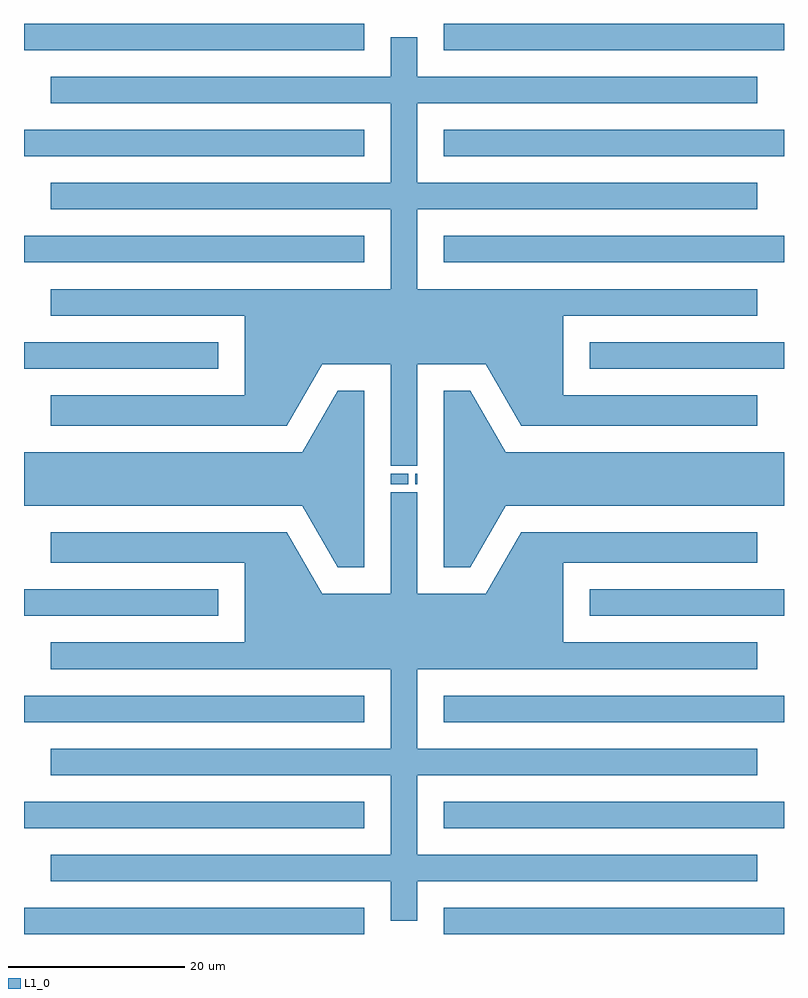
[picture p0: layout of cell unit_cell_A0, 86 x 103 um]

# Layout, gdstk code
from math import pi, radians
import gdstk
lib = gdstk.Library(unit=1e-6, precision=1e-09)
def R(c, l, rs):  # rectangles x0, y0, x1, y1
    for r in rs: c.add(gdstk.rectangle(r[:2], r[2:], *l))
def P(c, l, *ps):  # polygons
    for p in ps: c.add(gdstk.Polygon(p, *l))
L1_0 = (1, 0)

unnamed_410 = lib.new_cell('Unnamed_410')
P(unnamed_410, L1_0, [(38.5,0),(38.5,4.5),(0,4.5),(0,7.5),(38.5,7.5),(38.5,16.5),(0,16.5),(0,19.5),(38.5,19.5),(38.5,28.5),(0,28.5),(0,31.5),(22,31.5),(22,40.5),(0,40.5),(0,44),(26.759,44),(30.759,37),(38.5,37),(38.5,48.5),(40,48.5),(40,0)])

straight_l38p5_n2_csxs_e = lib.new_cell('straight_L38p5_N2_CSxs_e9659eb0')
R(straight_l38p5_n2_csxs_e, L1_0, [(0,-1.5,38.5,1.5)])

straight_array_n3_s9_l3_ = lib.new_cell('straight_array_N3_S9_L3_b91b2c6a')
straight_array_n3_s9_l3_.add(gdstk.Reference(straight_l38p5_n2_csxs_e, (0,0)))
straight_array_n3_s9_l3_.add(gdstk.Reference(straight_l38p5_n2_csxs_e, (0,12)))
straight_array_n3_s9_l3_.add(gdstk.Reference(straight_l38p5_n2_csxs_e, (0,24)))

straight_l22_n2_csxs_e96 = lib.new_cell('straight_L22_N2_CSxs_e9659eb0')
R(straight_l22_n2_csxs_e96, L1_0, [(0,-1.5,22,1.5)])

unnamed_406 = lib.new_cell('Unnamed_406')
unnamed_406.add(gdstk.Reference(straight_array_n3_s9_l3_, (-3,0)))
unnamed_406.add(gdstk.Reference(straight_l22_n2_csxs_e96, (-3,36)))

straight_l31p5_n2_csxs_4 = lib.new_cell('straight_L31p5_N2_CSxs_41e8578a')
R(straight_l31p5_n2_csxs_4, L1_0, [(0,-3,31.5,3)])

triangle_x10_x3_y7_y3_l1 = lib.new_cell('triangle_X10_X3_Y7_Y3_L1_0')
P(triangle_x10_x3_y7_y3_l1, L1_0, [(0,0),(0,7),(3,7),(10,3),(10,0)])

unnamed_408 = lib.new_cell('Unnamed_408')
unnamed_408.add(gdstk.Reference(straight_l31p5_n2_csxs_4, (-3,50)))
unnamed_408.add(gdstk.Reference(triangle_x10_x3_y7_y3_l1, (35.5,50), rotation=3*pi/2, x_reflection=True))

unnamed_411 = lib.new_cell('Unnamed_411')
unnamed_411.add(gdstk.Reference(unnamed_410, (0,0)))
unnamed_411.add(gdstk.Reference(unnamed_406, (0,0)))
unnamed_411.add(gdstk.Reference(unnamed_408, (0,0)))

rectangle_s2_0p6_lwg_cf_ = lib.new_cell('rectangle_S2_0p6_LWG_CF_a6a46f17')
R(rectangle_s2_0p6_lwg_cf_, L1_0, [(0,0,2,0.6)])

rectangle_s0p2_1p2_lwg__ = lib.new_cell('rectangle_S0p2_1p2_LWG__107b6a9b')
R(rectangle_s0p2_1p2_lwg__, L1_0, [(0,0,0.2,1.2)])

unnamed_412 = lib.new_cell('Unnamed_412')
unnamed_412.add(gdstk.Reference(rectangle_s2_0p6_lwg_cf_, (0,0)))
unnamed_412.add(gdstk.Reference(rectangle_s0p2_1p2_lwg__, (2.8,-0.6)))

unit_cell_a0 = lib.new_cell('unit_cell_A0')
unit_cell_a0.add(gdstk.Reference(unnamed_411, (0,0)))
unit_cell_a0.add(gdstk.Reference(unnamed_411, (80,0), rotation=pi, x_reflection=True))
unit_cell_a0.add(gdstk.Reference(unnamed_411, (0,100), x_reflection=True))
unit_cell_a0.add(gdstk.Reference(unnamed_411, (80,100), rotation=pi))
unit_cell_a0.add(gdstk.Reference(unnamed_412, (38.5,50)))
unit_cell_a0.add(gdstk.Reference(unnamed_412, (38.5,50), x_reflection=True))

lib.write_gds('unit_cell_A0.gds')
